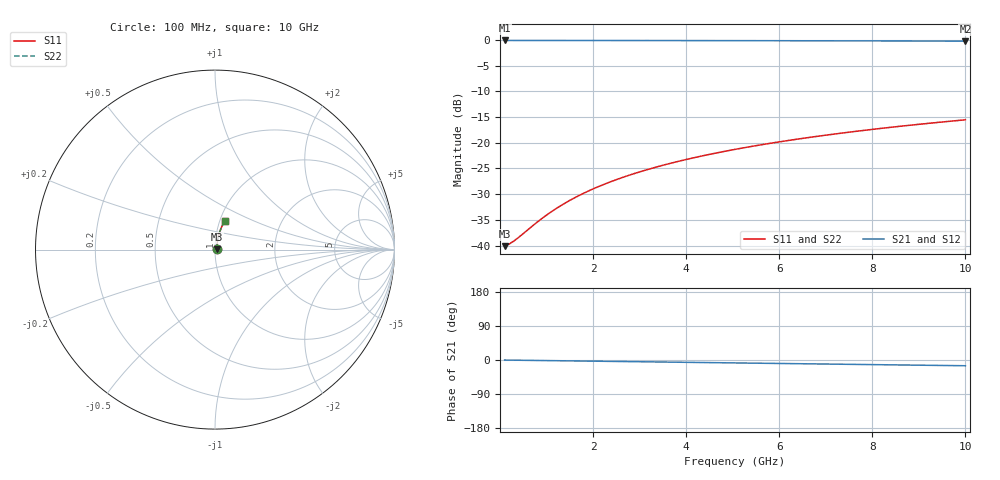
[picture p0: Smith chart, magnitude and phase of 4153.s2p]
# Hz S RI R 50.00
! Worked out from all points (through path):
!   100 points, 100 MHz to 10 GHz, reference 50 ohm
!   highest |S21| = -0.08 dB at 100 MHz (marker M1); lowest = -0.2 dB at 10 GHz (marker M2)
!   group delay of S21, straight-line fit = 4.22 ps
!   lowest |S11| = -40.1 dB at 100 MHz (marker M3), VSWR 1.02, Z = 51 + j0.171 ohm
!   |S11| at or under -10 dB: start of sweep to end of sweep
!   |S22| runs from -40.1 to -15.5 dB; largest |S21 - S12| = 0
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1e8  0.00971 0.00168  0.9903 -0.00264  0.9903 -0.00264  0.00971 0.00168
2e8  0.00978 0.00336  0.9902 -0.00529  0.9902 -0.00529  0.00978 0.00336
3e8  0.00985 0.00503  0.9901 -0.00793  0.9901 -0.00793  0.00985 0.00503
4e8  0.00992 0.00671  0.9901 -0.0106  0.9901 -0.0106  0.00992 0.00671
8e8  0.0102 0.0134  0.9897 -0.0211  0.9897 -0.0211  0.0102 0.0134
1.1e9  0.0106 0.0184  0.9894 -0.0291  0.9894 -0.0291  0.0106 0.0184
1.4e9  0.0109 0.0235  0.9889 -0.037  0.9889 -0.037  0.0109 0.0235
1.6e9  0.0112 0.0268  0.9886 -0.0422  0.9886 -0.0422  0.0112 0.0268
1.8e9  0.0116 0.0301  0.9883 -0.0475  0.9883 -0.0475  0.0116 0.0301
2.1e9  0.0121 0.0351  0.9876 -0.0554  0.9876 -0.0554  0.0121 0.0351
2.5e9  0.013 0.0418  0.9867 -0.0659  0.9867 -0.0659  0.013 0.0418
2.9e9  0.014 0.0484  0.9856 -0.0764  0.9856 -0.0764  0.014 0.0484
3.4e9  0.0155 0.0566  0.984 -0.0895  0.984 -0.0895  0.0155 0.0566
3.8e9  0.0168 0.0632  0.9825 -0.0999  0.9825 -0.0999  0.0168 0.0632
4.2e9  0.0182 0.0697  0.9809 -0.1103  0.9809 -0.1103  0.0182 0.0697
4.6e9  0.0198 0.0762  0.9792 -0.1206  0.9792 -0.1206  0.0198 0.0762
5.1e9  0.022 0.0842  0.9768 -0.1335  0.9768 -0.1335  0.022 0.0842
5.9e9  0.0259 0.0969  0.9724 -0.154  0.9724 -0.154  0.0259 0.0969
6.7e9  0.0303 0.1095  0.9675 -0.1742  0.9675 -0.1742  0.0303 0.1095
7.5e9  0.0353 0.1217  0.962 -0.1943  0.962 -0.1943  0.0353 0.1217
8.4e9  0.0414 0.1352  0.9552 -0.2165  0.9552 -0.2165  0.0414 0.1352
1e10  0.0538 0.1584  0.9414 -0.2552  0.9414 -0.2552  0.0538 0.1584
